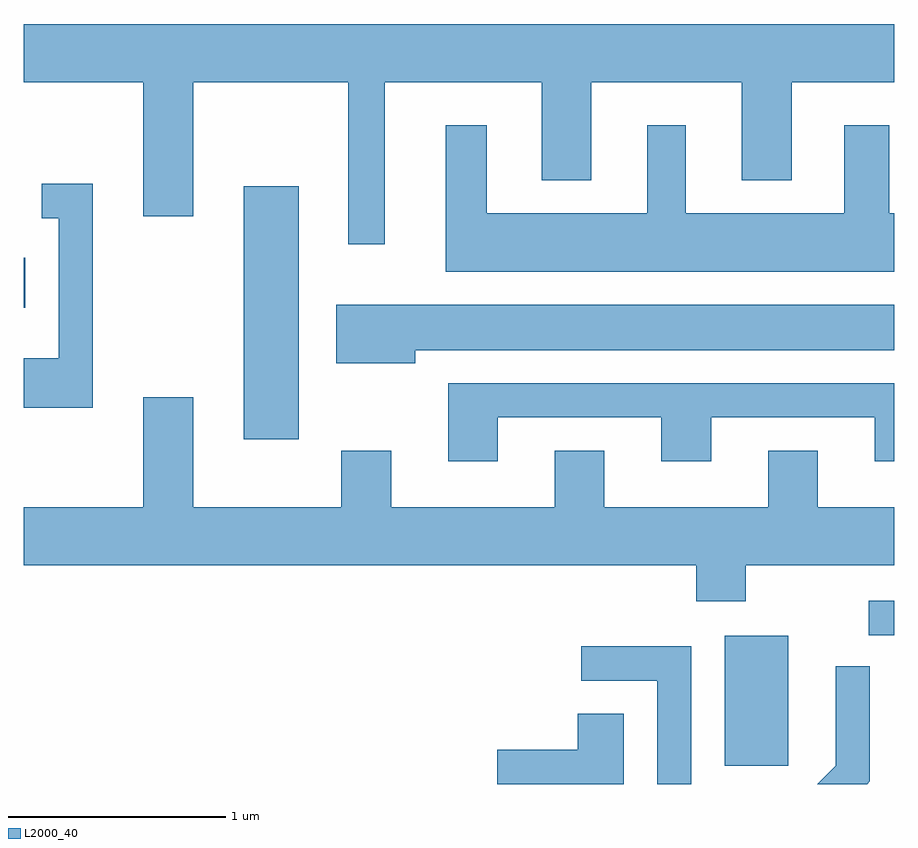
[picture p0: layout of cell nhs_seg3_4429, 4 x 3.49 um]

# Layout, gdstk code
import gdstk
lib = gdstk.Library(unit=1e-6, precision=1e-09)
def R(c, l, rs):  # rectangles x0, y0, x1, y1
    for r in rs: c.add(gdstk.rectangle(r[:2], r[2:], *l))
def P(c, l, *ps):  # polygons
    for p in ps: c.add(gdstk.Polygon(p, *l))
L2000_40 = (2000, 40)

nhs_seg3_4429 = lib.new_cell('nhs_seg3_4429')
R(nhs_seg3_4429, L2000_40, [(318.831,1133.976,319.124,1134.574), (319.493,1134.576,319.611,1134.734), (316.621,1135.476,316.874,1136.639), (315.611,1136.081,315.619,1136.309)])
P(nhs_seg3_4429, L2000_40, [(317.269,1137.116),(317.991,1137.116),(317.991,1136.666),(318.219,1136.666),(318.219,1137.116),(318.911,1137.116),(318.911,1136.666),(319.139,1136.666),(319.139,1137.116),(319.611,1137.116),(319.611,1137.384),(315.611,1137.384),(315.611,1137.116),(316.161,1137.116),(316.161,1136.501),(316.389,1136.501),(316.389,1137.116),(317.101,1137.116),(317.101,1136.373),(317.269,1136.373)],
  [(319.611,1136.514),(319.589,1136.514),(319.589,1136.919),(319.381,1136.919),(319.381,1136.514),(318.654,1136.514),(318.654,1136.919),(318.476,1136.919),(318.476,1136.514),(317.739,1136.514),(317.739,1136.919),(317.551,1136.919),(317.551,1136.246),(319.611,1136.246)],
  [(315.929,1136.649),(315.693,1136.649),(315.693,1136.491),(315.771,1136.491),(315.771,1135.849),(315.611,1135.849),(315.611,1135.621),(315.929,1135.621)],
  [(317.409,1135.886),(319.611,1135.886),(319.611,1136.094),(317.046,1136.094),(317.046,1135.826),(317.409,1135.826)],
  [(317.789,1135.576),(318.541,1135.576),(318.541,1135.376),(318.769,1135.376),(318.769,1135.576),(319.521,1135.576),(319.521,1135.376),(319.611,1135.376),(319.611,1135.734),(317.561,1135.734),(317.561,1135.376),(317.789,1135.376)],
  [(318.929,1134.896),(319.611,1134.896),(319.611,1135.164),(319.259,1135.164),(319.259,1135.424),(319.031,1135.424),(319.031,1135.164),(318.279,1135.164),(318.279,1135.424),(318.051,1135.424),(318.051,1135.164),(317.299,1135.164),(317.299,1135.424),(317.071,1135.424),(317.071,1135.164),(316.389,1135.164),(316.389,1135.669),(316.161,1135.669),(316.161,1135.164),(315.611,1135.164),(315.611,1134.896),(318.701,1134.896),(318.701,1134.731),(318.929,1134.731)],
  [(318.679,1134.524),(318.173,1134.524),(318.173,1134.366),(318.521,1134.366),(318.521,1133.892),(318.679,1133.892)],
  [(319.499,1133.904),(319.499,1134.433),(319.341,1134.433),(319.341,1133.977),(319.256,1133.892),(319.487,1133.892)],
  [(318.369,1134.214),(318.156,1134.214),(318.156,1134.049),(317.786,1134.049),(317.786,1133.892),(318.369,1133.892)])

lib.write_gds('nhs_seg3_4429.gds')
